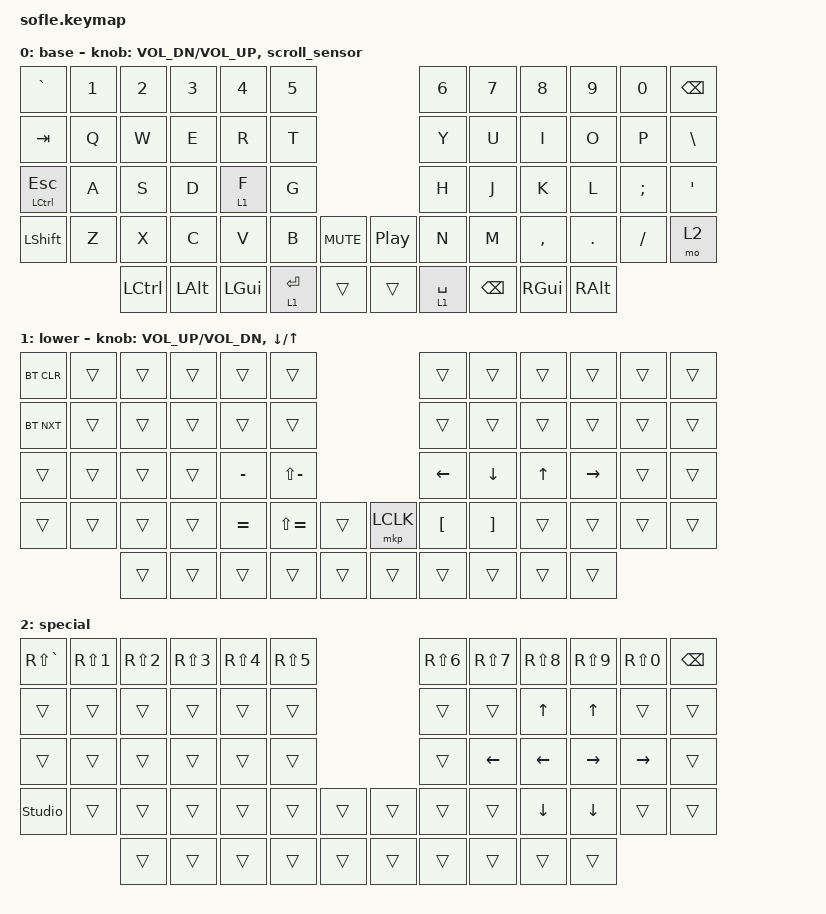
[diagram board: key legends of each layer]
/*
 * Copyright (c) 2020 The ZMK Contributors
 *
 * SPDX-License-Identifier: MIT
 */

#define ZMK_MOUSE_DEFAULT_SCRL_VAL 140

#include <behaviors.dtsi>
#include <dt-bindings/zmk/bt.h>
#include <dt-bindings/zmk/keys.h>
#include <dt-bindings/zmk/pointing.h>

/ {
    behaviors {
        scroll_sensor: scroll_sensor {
            compatible = "zmk,behavior-sensor-rotate";
            label = "SCROLL_SENSOR";
            #sensor-binding-cells = <0>;
            bindings = <&msc MOVE_Y(10)>, <&msc MOVE_Y(-10)>;

            tap-ms = <125>;
        };
    };

    keymap {
        compatible = "zmk,keymap";

        default_layer {
            display-name = "base";
            label = "base";

            // ------------------------------------------------------------------------------------------------------------
            // |  `    |  1  |  2  |  3   |  4   |  5   |                   |  6   |  7    |  8    |  9   |   0   |       |
            // |  ESC  |  Q  |  W  |  E   |  R   |  T   |                   |  Y   |  U    |  I    |  O   |   P   | BKSPC |
            // |  TAB  |  A  |  S  |  D   |  F   |  G   |                   |  H   |  J    |  K    |  L   |   ;   |   '   |
            // | SHIFT |  Z  |  X  |  C   |  V   |  B   |  MUTE  |  |       |  N   |  M    |  ,    |  .   |   /   | SHIFT |
            //               | GUI | ALT  | CTRL | LOWER|  ENTER |  | SPACE | RAISE| CTRL  | ALT   | GUI  |

            bindings = <
&kp GRAVE      &kp N1  &kp N2            &kp N3        &kp N4        &kp N5                                        &kp N6       &kp N7         &kp N8         &kp N9         &kp N0    &kp BACKSPACE
&kp TAB        &kp Q   &kp W             &kp E         &kp R         &kp T                                         &kp Y        &kp U          &kp I          &kp O          &kp P     &kp BACKSLASH
&mt LCTRL ESC  &kp A   &kp S             &kp D         &lt 1 F       &kp G                                         &kp H        &kp J          &kp K          &kp L          &kp SEMI  &kp APOS
&kp LSHFT      &kp Z   &kp X             &kp C         &kp V         &kp B         &kp C_MUTE    &kp C_PLAY_PAUSE  &kp N        &kp M          &kp COMMA      &kp DOT        &kp FSLH  &mo 2
                       &kp LEFT_CONTROL  &kp LEFT_ALT  &kp LEFT_GUI  &lt 1 RETURN  &trans        &trans            &lt 1 SPACE  &kp BACKSPACE  &kp RIGHT_GUI  &kp RIGHT_ALT
            >;

            sensor-bindings = <&inc_dec_kp C_VOL_DN C_VOL_UP>, <&scroll_sensor>;
        };

        lower_layer {
            display-name = "lower";
            label = "low";

            // ------------------------------------------------------------------------------------------------------------
            // | `     |  F1 |  F2 |  F3  |  F4  |  F5  |                   |  F6  |  F7   |  F8   |  F9  |  F10  |  F11  |
            // | RAISE |   1 |   2 |   3  |   4  |   5  |                   |   6  |   7   |   8   |   9  |    0  |  F12  |
            // |       |  !  |  @  |  #   |  $   |  %   |                   |  ^   |  &    |  *    |  (   |   )   |   |   |
            // |       |  =  |  -  |  +   |  {   |  }   |        |  |       |  [   |  ]    |  ;    |  :   |   \   |       |
            //               |     |      |      |      |        |  |       |      |       |       |      |

            bindings = <
&bt BT_CLR  &trans  &trans  &trans  &trans     &trans                              &trans    &trans    &trans  &trans     &trans  &trans
&bt BT_NXT  &trans  &trans  &trans  &trans     &trans                              &trans    &trans    &trans  &trans     &trans  &trans
&trans      &trans  &trans  &trans  &kp MINUS  &kp LS(MINUS)                       &kp LEFT  &kp DOWN  &kp UP  &kp RIGHT  &trans  &trans
&trans      &trans  &trans  &trans  &kp EQUAL  &kp LS(EQUAL)  &trans    &mkp LCLK  &kp LBKT  &kp RBKT  &trans  &trans     &trans  &trans
                    &trans  &trans  &trans     &trans         &trans    &trans     &trans    &trans    &trans  &trans
            >;

            sensor-bindings =
                <&inc_dec_kp C_VOL_UP C_VOL_DN>,
                <&inc_dec_kp DOWN_ARROW UP_ARROW>;
        };

        special {
            display-name = "special";
            label = "special";
            bindings = <
&kp RS(GRAVE)   &kp RS(N1)  &kp RS(N2)  &kp RS(N3)  &kp RS(N4)  &kp RS(N5)                    &kp RS(N6)  &kp RS(N7)      &kp RS(N8)      &kp RS(N9)  &kp RS(N0)       &kp BACKSPACE
&trans          &trans      &trans      &trans      &trans      &trans                        &trans      &trans          &kp UP_ARROW    &kp UP      &trans           &trans
&trans          &trans      &trans      &trans      &trans      &trans                        &trans      &kp LEFT_ARROW  &kp LEFT        &kp RIGHT   &kp RIGHT_ARROW  &trans
&studio_unlock  &trans      &trans      &trans      &trans      &trans      &trans    &trans  &trans      &trans          &kp DOWN_ARROW  &kp DOWN    &trans           &trans
                            &trans      &trans      &trans      &trans      &trans    &trans  &trans      &trans          &trans          &trans
            >;
        };
    };
};
